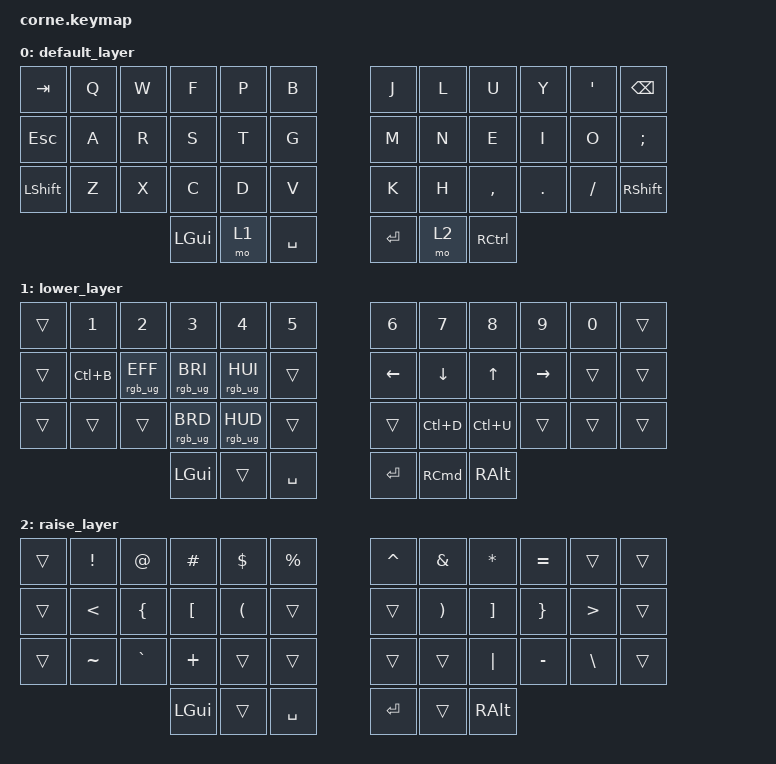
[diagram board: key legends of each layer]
/*
 * Copyright (c) 2020 The ZMK Contributors
 *
 * SPDX-License-Identifier: MIT
 */

#include <behaviors.dtsi>
#include <dt-bindings/zmk/keys.h>
#include <dt-bindings/zmk/rgb.h>

/ {
    keymap {
        compatible = "zmk,keymap";

        default_layer {
            // -----------------------------------------------------------------------------------------
            // |  TAB |  Q  |  W  |  F  |  P  |  B  |   |  J  |  L  |  U  |  Y  |  "  | BSPC |
            // |  ESC |  A  |  R  |  S  |  T  |  G  |   |  M  |  N  |  E  |  I  |  O  |  ;   |
            // | SHFT |  Z  |  X  |  C  |  D  |  V  |   |  M  |  H  |  ,  |  .  |  /  | SHFT |
            //                    | GUI | LWR | SPC |   | ENT | RSE |RCTRL|

            bindings = <
&kp TAB     &kp Q  &kp W  &kp F     &kp P  &kp B        &kp J    &kp L  &kp U      &kp Y       &kp SQT    &kp BSPC
&kp ESCAPE  &kp A  &kp R  &kp S     &kp T  &kp G        &kp M    &kp N  &kp E      &kp I       &kp O      &kp SEMICOLON
&kp LSHFT   &kp Z  &kp X  &kp C     &kp D  &kp V        &kp K    &kp H  &kp COMMA  &kp PERIOD  &kp SLASH  &kp RIGHT_SHIFT
                          &kp LGUI  &mo 1  &kp SPACE    &kp RET  &mo 2  &kp RCTRL
            >;
        };

        lower_layer {
            // -----------------------------------------------------------------------------------------
            // |  TAB |  1  |  2  |  3  |  4  |  5  |   |  6  |  7  |  8  |  9  |  0  | BSPC |
            // |  ESC | BT1 | BT2 | BRI | HUI | BT5 |   | LFT | DWN |  UP | RGT |     |  ;   |
            // | SHFT |     |     | BRD | HUD |     |   |     | CDN | CUP |     |     | SHFT |
            //                    | GUI |     | SPC |   | ENT |     |RCTRL|

            bindings = <
&trans  &kp N1     &kp N2           &kp N3           &kp N4           &kp N5       &kp N6    &kp N7             &kp N8     &kp N9     &kp N0  &trans
&trans  &kp LC(B)  &rgb_ug RGB_EFF  &rgb_ug RGB_BRI  &rgb_ug RGB_HUI  &trans       &kp LEFT  &kp DOWN           &kp UP     &kp RIGHT  &trans  &trans
&trans  &trans     &trans           &rgb_ug RGB_BRD  &rgb_ug RGB_HUD  &trans       &trans    &kp LC(D)          &kp LC(U)  &trans     &trans  &trans
                                    &kp LGUI         &trans           &kp SPACE    &kp RET   &kp RIGHT_COMMAND  &kp RALT
            >;
        };

        raise_layer {
            // -----------------------------------------------------------------------------------------
            // |  TAB |  !  |  @  |  #  |  $  |  %  |   |  ^  |  &  |  *  |  (  |  )  | BSPC |
            // |  ESC |  <  |  {  |  [  |  (  |     |   |     |  )  |  ]  |  }  |  >  |  ;   |
            // | SHFT |  ~  |  `  |  +  |     |     |   |     |     | "|" |  -  |  \  | SHFT |
            //                    | GUI |     | SPC |   | ENT |     |RCTRL|

            bindings = <
&trans  &kp EXCL       &kp AT          &kp HASH          &kp DLLR              &kp PERCENT    &kp CARET  &kp AMPS               &kp ASTRK          &kp EQUAL        &trans            &trans
&trans  &kp LESS_THAN  &kp LEFT_BRACE  &kp LEFT_BRACKET  &kp LEFT_PARENTHESIS  &trans         &trans     &kp RIGHT_PARENTHESIS  &kp RIGHT_BRACKET  &kp RIGHT_BRACE  &kp GREATER_THAN  &trans
&trans  &kp TILDE      &kp GRAVE       &kp PLUS          &trans                &trans         &trans     &trans                 &kp PIPE           &kp MINUS        &kp BACKSLASH     &trans
                                       &kp LGUI          &trans                &kp SPACE      &kp RET    &trans                 &kp RALT
            >;
        };
    };
};

&led_strip {
    chain-length = <27>;
};
